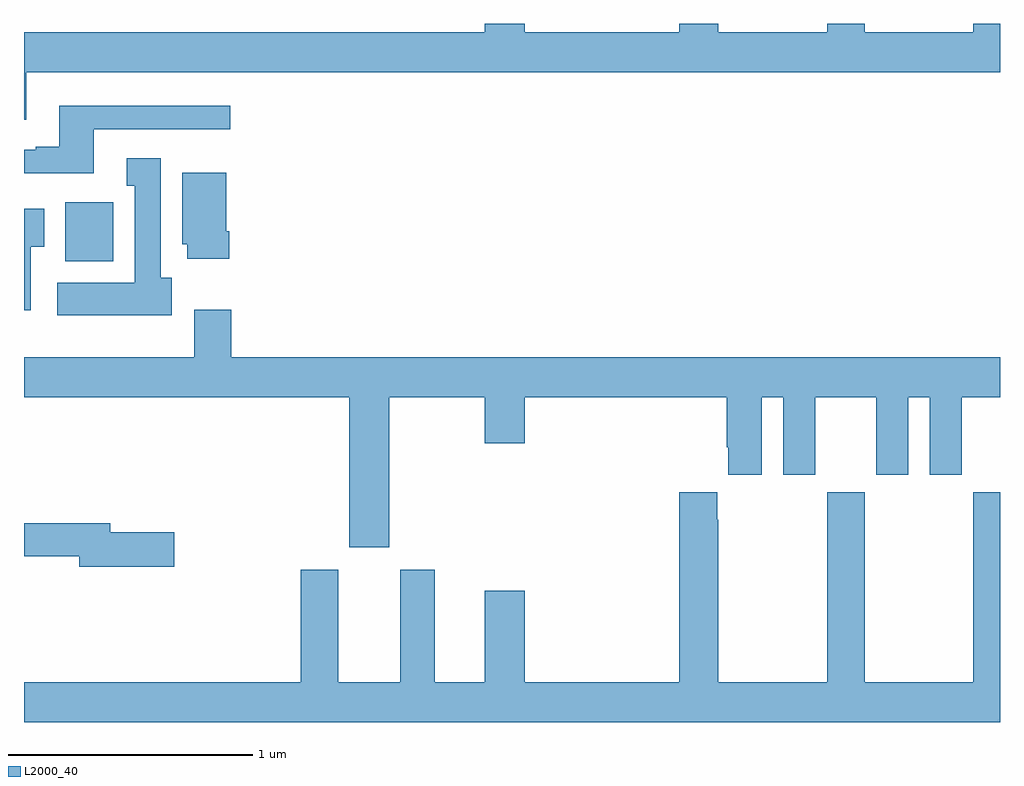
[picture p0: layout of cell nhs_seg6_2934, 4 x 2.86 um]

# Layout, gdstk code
import gdstk
lib = gdstk.Library(unit=1e-6, precision=1e-09)
def R(c, l, rs):  # rectangles x0, y0, x1, y1
    for r in rs: c.add(gdstk.rectangle(r[:2], r[2:], *l))
def P(c, l, *ps):  # polygons
    for p in ps: c.add(gdstk.Polygon(p, *l))
L2000_40 = (2000, 40)

nhs_seg6_2934 = lib.new_cell('nhs_seg6_2934')
R(nhs_seg6_2934, L2000_40, [(283.169,982.526,283.366,982.768)])
P(nhs_seg6_2934, L2000_40, [(283.009,983.3),(287,983.3),(287,983.5),(286.891,983.5),(286.891,983.464),(286.446,983.464),(286.446,983.5),(286.291,983.5),(286.291,983.464),(285.846,983.464),(285.846,983.5),(285.686,983.5),(285.686,983.464),(285.052,983.464),(285.052,983.5),(284.888,983.5),(284.888,983.464),(283,983.464),(283,983.106),(283.009,983.106)],
  [(283.285,983.067),(283.846,983.067),(283.846,983.164),(283.145,983.164),(283.145,982.996),(283.049,982.996),(283.049,982.983),(283,982.983),(283,982.886),(283.285,982.886)],
  [(283.606,982.458),(283.561,982.458),(283.561,982.948),(283.421,982.948),(283.421,982.835),(283.454,982.835),(283.454,982.438),(283.137,982.438),(283.137,982.304),(283.606,982.304)],
  [(283.841,982.648),(283.828,982.648),(283.828,982.888),(283.649,982.888),(283.649,982.596),(283.67,982.596),(283.67,982.536),(283.841,982.536)],
  [(283.027,982.585),(283.084,982.585),(283.084,982.741),(283,982.741),(283,982.326),(283.027,982.326)],
  [(284.497,981.968),(284.888,981.968),(284.888,981.78),(285.052,981.78),(285.052,981.968),(285.881,981.968),(285.881,981.763),(285.887,981.763),(285.887,981.651),(286.024,981.651),(286.024,981.968),(286.112,981.968),(286.112,981.651),(286.243,981.651),(286.243,981.968),(286.493,981.968),(286.493,981.651),(286.624,981.651),(286.624,981.968),(286.712,981.968),(286.712,981.651),(286.843,981.651),(286.843,981.968),(287,981.968),(287,982.132),(283.85,982.132),(283.85,982.327),(283.697,982.327),(283.697,982.132),(283,982.132),(283,981.968),(284.333,981.968),(284.333,981.354),(284.497,981.354)],
  [(287,981.58),(286.891,981.58),(286.891,980.8),(286.446,980.8),(286.446,981.58),(286.291,981.58),(286.291,980.8),(285.846,980.8),(285.846,981.467),(285.841,981.467),(285.841,981.58),(285.686,981.58),(285.686,980.8),(285.052,980.8),(285.052,981.175),(284.888,981.175),(284.888,980.8),(284.683,980.8),(284.683,981.262),(284.543,981.262),(284.543,980.8),(284.287,980.8),(284.287,981.262),(284.135,981.262),(284.135,980.8),(283,980.8),(283,980.636),(287,980.636)],
  [(283.615,981.416),(283.354,981.416),(283.354,981.452),(283,981.452),(283,981.316),(283.226,981.316),(283.226,981.274),(283.615,981.274)])

lib.write_gds('nhs_seg6_2934.gds')
